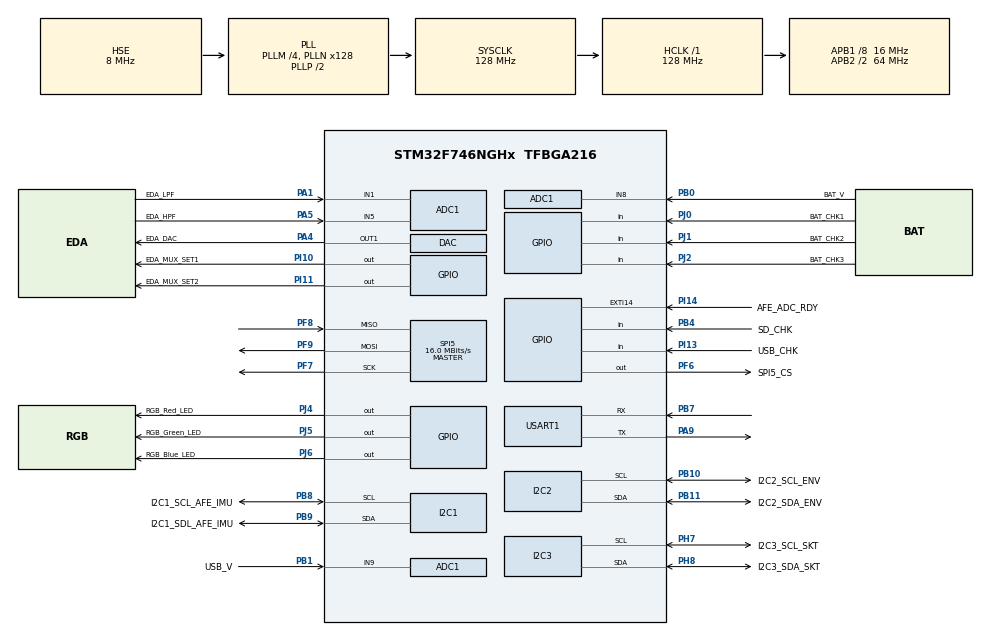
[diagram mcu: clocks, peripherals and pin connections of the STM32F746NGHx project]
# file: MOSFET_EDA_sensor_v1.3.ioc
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ADC1.Channel-0\#ChannelRegularConversion=ADC_CHANNEL_1
ADC1.Channel-1\#ChannelRegularConversion=ADC_CHANNEL_5
ADC1.Channel-2\#ChannelRegularConversion=ADC_CHANNEL_8
ADC1.Channel-3\#ChannelRegularConversion=ADC_CHANNEL_9
ADC1.ClockPrescaler=ADC_CLOCK_SYNC_PCLK_DIV4
ADC1.DMAContinuousRequests=ENABLE
ADC1.NbrOfConversion=4
ADC1.NbrOfConversionFlag=1
ADC1.Rank-0\#ChannelRegularConversion=1
ADC1.Rank-1\#ChannelRegularConversion=2
ADC1.Rank-2\#ChannelRegularConversion=3
ADC1.Rank-3\#ChannelRegularConversion=4
ADC1.SamplingTime-0\#ChannelRegularConversion=ADC_SAMPLETIME_84CYCLES
ADC1.SamplingTime-1\#ChannelRegularConversion=ADC_SAMPLETIME_84CYCLES
ADC1.SamplingTime-2\#ChannelRegularConversion=ADC_SAMPLETIME_84CYCLES
ADC1.SamplingTime-3\#ChannelRegularConversion=ADC_SAMPLETIME_84CYCLES
ADC1.ScanConvMode=ADC_SCAN_ENABLE
ADC1.master=1
Dma.ADC1.0.Direction=DMA_PERIPH_TO_MEMORY
Dma.ADC1.0.FIFOMode=DMA_FIFOMODE_DISABLE
Dma.ADC1.0.Instance=DMA2_Stream0
Dma.ADC1.0.MemDataAlignment=DMA_MDATAALIGN_HALFWORD
Dma.ADC1.0.MemInc=DMA_MINC_ENABLE
Dma.ADC1.0.Mode=DMA_CIRCULAR
Dma.ADC1.0.PeriphDataAlignment=DMA_PDATAALIGN_HALFWORD
Dma.ADC1.0.PeriphInc=DMA_PINC_DISABLE
Dma.ADC1.0.Priority=DMA_PRIORITY_LOW
Dma.Request0=ADC1
FATFS._MAX_SS=4096
FATFS._USE_LFN=1
Mcu.Family=STM32F7
Mcu.Name=STM32F746NGHx
Mcu.Package=TFBGA216
NVIC.ADC_IRQn=true\:0\:0\:false\:false\:true\:true\:true\:true
NVIC.DMA2_Stream0_IRQn=true\:0\:0\:false\:false\:true\:false\:true\:true
NVIC.PriorityGroup=NVIC_PRIORITYGROUP_4
NVIC.TIM3_IRQn=true\:0\:0\:false\:false\:true\:true\:true\:true
PA1.GPIO_Label=EDA_LPF
PA1.Signal=ADCx_IN1
PA13.Mode=Serial_Wire
PA13.Signal=SYS_JTMS-SWDIO
PA14.Mode=Serial_Wire
PA14.Signal=SYS_JTCK-SWCLK
PA4.GPIO_Label=EDA_DAC
PA4.Signal=COMP_DAC1_group
PA5.GPIO_Label=EDA_HPF
PA5.Signal=ADCx_IN5
PA9.Mode=Asynchronous
PA9.Signal=USART1_TX
PB0.GPIO_Label=BAT_V
PB0.Signal=ADCx_IN8
PB1.GPIO_Label=USB_V
PB1.Signal=ADCx_IN9
PB10.GPIO_Label=I2C2_SCL_ENV
PB10.Mode=I2C
PB10.Signal=I2C2_SCL
PB11.GPIO_Label=I2C2_SDA_ENV
PB11.Mode=I2C
PB11.Signal=I2C2_SDA
PB4.GPIO_Label=SD_CHK
PB4.Signal=GPIO_Input
PB7.Mode=Asynchronous
PB7.Signal=USART1_RX
PB8.GPIO_Label=I2C1_SCL_AFE_IMU
PB8.Mode=I2C
PB8.Signal=I2C1_SCL
PB9.GPIO_Label=I2C1_SDL_AFE_IMU
PB9.Mode=I2C
PB9.Signal=I2C1_SDA
PF6.GPIO_Label=SPI5_CS
PF6.PinState=GPIO_PIN_SET
PF6.Signal=GPIO_Output
PF7.Mode=Full_Duplex_Master
PF7.Signal=SPI5_SCK
PF8.Mode=Full_Duplex_Master
PF8.Signal=SPI5_MISO
PF9.Mode=Full_Duplex_Master
PF9.Signal=SPI5_MOSI
PH0/OSC_IN.Mode=HSE-External-Oscillator
PH0/OSC_IN.Signal=RCC_OSC_IN
PH1/OSC_OUT.Mode=HSE-External-Oscillator
PH1/OSC_OUT.Signal=RCC_OSC_OUT
PH7.GPIO_Label=I2C3_SCL_SKT
PH7.Mode=I2C
PH7.Signal=I2C3_SCL
PH8.GPIO_Label=I2C3_SDA_SKT
PH8.Mode=I2C
PH8.Signal=I2C3_SDA
PI10.GPIO_Label=EDA_MUX_SET1
PI10.PinState=GPIO_PIN_SET
PI10.Signal=GPIO_Output
PI11.GPIO_Label=EDA_MUX_SET2
PI11.PinState=GPIO_PIN_RESET
PI11.Signal=GPIO_Output
PI13.GPIO_Label=USB_CHK
PI13.Signal=GPIO_Input
PI14.GPIO_Label=AFE_ADC_RDY
PI14.Signal=GPXTI14
PJ0.GPIO_Label=BAT_CHK1
PJ0.Signal=GPIO_Input
PJ1.GPIO_Label=BAT_CHK2
PJ1.Signal=GPIO_Input
PJ2.GPIO_Label=BAT_CHK3
PJ2.Signal=GPIO_Input
PJ4.GPIO_Label=RGB_Red_LED
PJ4.PinState=GPIO_PIN_SET
PJ4.Signal=GPIO_Output
PJ5.GPIO_Label=RGB_Green_LED
PJ5.PinState=GPIO_PIN_SET
PJ5.Signal=GPIO_Output
PJ6.GPIO_Label=RGB_Blue_LED
PJ6.PinState=GPIO_PIN_SET
PJ6.Signal=GPIO_Output
ProjectManager.HeapSize=0x200
ProjectManager.StackSize=0x400
ProjectManager.TargetToolchain=STM32CubeIDE
RCC.AHBFreq_Value=128000000
RCC.APB1CLKDivider=RCC_HCLK_DIV8
RCC.APB1Freq_Value=16000000
RCC.APB1TimFreq_Value=32000000
RCC.APB2CLKDivider=RCC_HCLK_DIV2
RCC.APB2Freq_Value=64000000
RCC.APB2TimFreq_Value=128000000
RCC.CortexFreq_Value=128000000
RCC.HCLKFreq_Value=128000000
RCC.HSE_VALUE=8000000
RCC.HSI_VALUE=16000000
RCC.LSE_VALUE=32768
RCC.PLLM=4
RCC.PLLN=128
RCC.PLLSourceVirtual=RCC_PLLSOURCE_HSE
RCC.SYSCLKFreq_VALUE=128000000
RCC.SYSCLKSource=RCC_SYSCLKSOURCE_PLLCLK
RCC.USART1CLockSelection=RCC_USART1CLKSOURCE_HSI
RCC.USBFreq_Value=128000000
RCC.VCOOutputFreq_Value=256000000
SH.ADCx_IN1.0=ADC1_IN1,IN1
SH.ADCx_IN5.0=ADC1_IN5,IN5
SH.ADCx_IN8.0=ADC1_IN8,IN8
SH.ADCx_IN9.0=ADC1_IN9,IN9
SH.COMP_DAC1_group.0=DAC_OUT1,DAC_OUT1
SPI5.BaudRatePrescaler=SPI_BAUDRATEPRESCALER_4
SPI5.CalculateBaudRate=16.0 MBits/s
SPI5.Direction=SPI_DIRECTION_2LINES
SPI5.Mode=SPI_MODE_MASTER
SPI5.VirtualType=VM_MASTER
TIM3.Period=249
TIM3.Prescaler=1000
USART1.VirtualMode-Asynchronous=VM_ASYNC
VP_FATFS_VS_Generic.Mode=User_defined
VP_TIM3_VS_ClockSourceINT.Mode=Internal
board=custom

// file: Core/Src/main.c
/* USER CODE BEGIN Header */
/**
  ******************************************************************************
  * @file           : main.c
  * @brief          : Main program body
  ******************************************************************************
  * @attention
  *
  * Copyright (c) 2024 STMicroelectronics.
  * All rights reserved.
  *
  * This software is licensed under terms that can be found in the LICENSE file
  * in the root directory of this software component.
  * If no LICENSE file comes with this software, it is provided AS-IS.
  *
  ******************************************************************************
  */
/* USER CODE END Header */
#include "main.h"
#include "adc.h"
#include "dac.h"
#include "dma.h"
#include "fatfs.h"
#include "i2c.h"
#include "spi.h"
#include "tim.h"
#include "usart.h"
#include "gpio.h"

/* USER CODE BEGIN Includes */
#include "MOSFET_EDA.h"

/* USER CODE END Includes */

/* USER CODE BEGIN PD */
#define fs					128//hz
/* USER CODE END PD */

/* USER CODE BEGIN PV */
float ms = 0;
uint8_t sec = 0;
uint16_t min = 0;
uint16_t ms_idx = 0;
uint8_t j = 0;
float tmp;
//float tmps[col] = {0.0, };

/* ADC variables */
uint16_t ADC_values[4];

/* EDA variables */
float EDA;
float EDA_ohm;
float Ids[4096];
float Ids_[4096];

float parameter[6];
//float Ids_s[4096][col];
uint16_t min_DAC_value;
uint16_t max_DAC_value;
uint16_t set_DAC_value;

// input ouput
float EDA_LPF_Vout = 0.0;
float EDA_HPF_Vout = 0.0;

/* Power variables */
float BAT_V_ADC = 0.0;
float USB_V_ADC = 0.0;

/* USER CODE END PV */
void SystemClock_Config(void);

int main(void)
{

  /* MCU Configuration--------------------------------------------------------*/

  /* Reset of all peripherals, Initializes the Flash interface and the Systick. */
  HAL_Init();

  /* Configure the system clock */
  SystemClock_Config();

  /* Initialize all configured peripherals */
  MX_GPIO_Init();
  MX_DMA_Init();
  MX_SPI5_Init();
  MX_FATFS_Init();
  MX_ADC1_Init();
  MX_DAC_Init();
  MX_I2C1_Init();
  MX_I2C2_Init();
  MX_I2C3_Init();
  MX_TIM3_Init();
  MX_USART1_UART_Init();
  /* USER CODE BEGIN 2 */

  while(1)
  {
	  MOSFET_EDA_Measure_Ids(Ids, &min_DAC_value, &max_DAC_value);
	  MOSFET_EDA_Calibration_Ids(Ids, min_DAC_value, max_DAC_value, Ids_, parameter, &tmp);
	  printf("DAC_value\tVgs\tT:%.2f\r\n", tmp);
	  for(int i=min_DAC_value; i<1500; i++)
	  {
		  float Vgs = (float)i / 4096 * 3.3;
		  float ln_Ids_ = (parameter[5]*i*i*i*i*i) + (parameter[4]*i*i*i*i) + (parameter[3]*i*i*i) + (parameter[2]*i*i) + (parameter[1]*i) + (parameter[0]);
		  Ids_[i] = exp(ln_Ids_);
		  printf("%d\t%f\t%f\r\n", i, Vgs, Ids_[i]);
	  }

  }

  set_DAC_value = 1500;
  MOSFET_EDA_Start(set_DAC_value);

  HAL_TIM_Base_Start_IT(&htim3);
  /* USER CODE END 2 */

  /* Infinite loop */
  while (1)
  {

  }
}

void SystemClock_Config(void)
{
  RCC_OscInitTypeDef RCC_OscInitStruct = {0};
  RCC_ClkInitTypeDef RCC_ClkInitStruct = {0};

  /** Configure the main internal regulator output voltage
  */
  __HAL_RCC_PWR_CLK_ENABLE();
  __HAL_PWR_VOLTAGESCALING_CONFIG(PWR_REGULATOR_VOLTAGE_SCALE3);

  /** Initializes the RCC Oscillators according to the specified parameters
  * in the RCC_OscInitTypeDef structure.
  */
  RCC_OscInitStruct.OscillatorType = RCC_OSCILLATORTYPE_HSI|RCC_OSCILLATORTYPE_HSE;
  RCC_OscInitStruct.HSEState = RCC_HSE_ON;
  RCC_OscInitStruct.HSIState = RCC_HSI_ON;
  RCC_OscInitStruct.HSICalibrationValue = RCC_HSICALIBRATION_DEFAULT;
  RCC_OscInitStruct.PLL.PLLState = RCC_PLL_ON;
  RCC_OscInitStruct.PLL.PLLSource = RCC_PLLSOURCE_HSE;
  RCC_OscInitStruct.PLL.PLLM = 4;
  RCC_OscInitStruct.PLL.PLLN = 128;
  RCC_OscInitStruct.PLL.PLLP = RCC_PLLP_DIV2;
  RCC_OscInitStruct.PLL.PLLQ = 2;
  if (HAL_RCC_OscConfig(&RCC_OscInitStruct) != HAL_OK)
  {
    Error_Handler();
  }

  /** Initializes the CPU, AHB and APB buses clocks
  */
  RCC_ClkInitStruct.ClockType = RCC_CLOCKTYPE_HCLK|RCC_CLOCKTYPE_SYSCLK
                              |RCC_CLOCKTYPE_PCLK1|RCC_CLOCKTYPE_PCLK2;
  RCC_ClkInitStruct.SYSCLKSource = RCC_SYSCLKSOURCE_PLLCLK;
  RCC_ClkInitStruct.AHBCLKDivider = RCC_SYSCLK_DIV1;
  RCC_ClkInitStruct.APB1CLKDivider = RCC_HCLK_DIV8;
  RCC_ClkInitStruct.APB2CLKDivider = RCC_HCLK_DIV2;

  if (HAL_RCC_ClockConfig(&RCC_ClkInitStruct, FLASH_LATENCY_4) != HAL_OK)
  {
    Error_Handler();
  }
}

/* USER CODE BEGIN 4 */
int _write(int32_t file, uint8_t *ptr, int32_t len)
{
	HAL_UART_Transmit(&huart1, ptr, len, 20);

	return len;
}

void HAL_TIM_PeriodElapsedCallback(TIM_HandleTypeDef *htim)
{
	if(htim->Instance == TIM3)
	{
		ms = (float)ms_idx/fs;

		/* get EDA value ADC */
		MOSFET_EDA_Get(&EDA_LPF_Vout, &EDA_HPF_Vout);

		/* Calculate EDA uS */
		EDA = Ids[set_DAC_value] / (EDA_LPF_Vout - 0.5);
		EDA_ohm = 1/EDA;

		printf("%dm %.3fs\tEDA_LPF_ADC = %fv\tEDA = %fuS(%fMohm)\tIds = %fuA\tDAC_value = %d\r\n", min, sec+ms, EDA_LPF_Vout, EDA, EDA_ohm, Ids[set_DAC_value], set_DAC_value);

		if(ms_idx >= fs)
		{
			ms_idx = 0;
			sec++;

			if(sec >= 60)
			{
				sec = 0;
				min++;
			}
		}
		ms_idx++;
	}
}

/* USER CODE END 4 */

void Error_Handler(void)
{
  __disable_irq();
  while (1)
  {
  }
}
